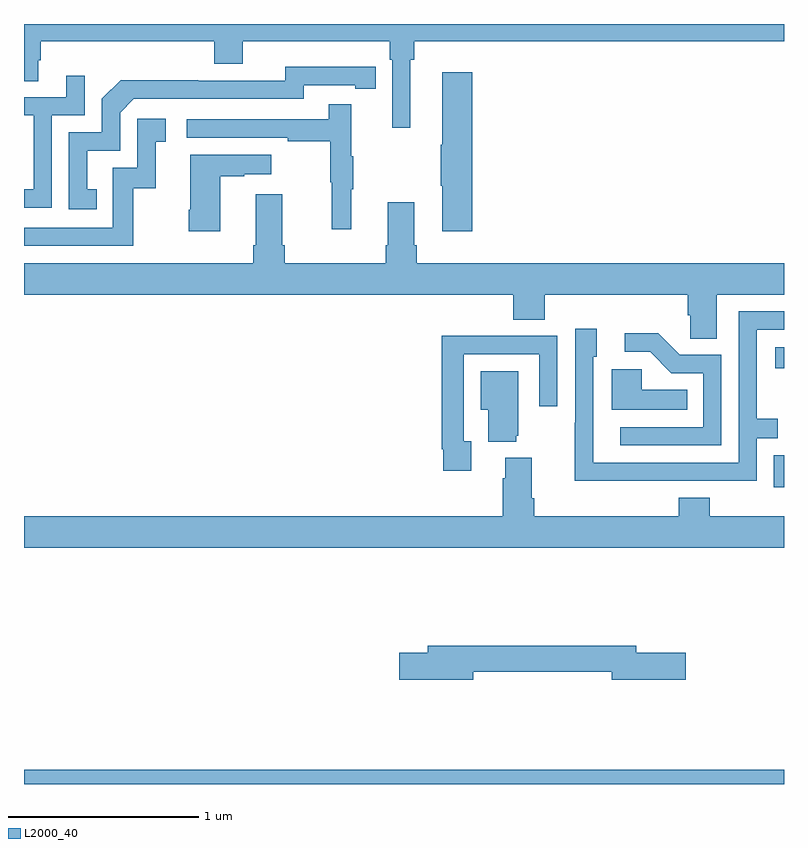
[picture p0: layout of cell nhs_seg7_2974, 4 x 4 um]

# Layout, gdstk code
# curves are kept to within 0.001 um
import gdstk
lib = gdstk.Library(unit=1e-6, precision=1e-09)
def R(c, l, rs):  # rectangles x0, y0, x1, y1
    for r in rs: c.add(gdstk.rectangle(r[:2], r[2:], *l))
def P(c, l, *ps):  # polygons
    for p in ps: c.add(gdstk.Polygon(p, *l))
L2000_40 = (2000, 40)

nhs_seg7_2974 = lib.new_cell('nhs_seg7_2974')
R(nhs_seg7_2974, L2000_40, [(301,1038,305,1038.076), (304.947,1039.563,305,1039.731), (304.953,1040.189,305,1040.299)])
P(nhs_seg7_2974, L2000_40, [(303.034,1041.812),(303.053,1041.812),(303.053,1041.908),(305,1041.908),(305,1042),(301,1042),(301,1041.7),(301.075,1041.7),(301.075,1041.81),(301.088,1041.81),(301.088,1041.908),(302,1041.908),(302,1041.791),(302.152,1041.791),(302.152,1041.908),(302.924,1041.908),(302.924,1041.812),(302.937,1041.812),(302.937,1041.453),(303.034,1041.453)],
  [(301.382,1041.129),(301.333,1041.129),(301.333,1041.333),(301.506,1041.333),(301.506,1041.534),(301.578,1041.606),(302.472,1041.606),(302.472,1041.678),(302.744,1041.678),(302.744,1041.658),(302.852,1041.658),(302.852,1041.774),(302.376,1041.775),(302.376,1041.702),(301.916,1041.702),(301.916,1041.704),(301.508,1041.704),(301.41,1041.606),(301.41,1041.429),(301.236,1041.429),(301.236,1041.024),(301.382,1041.024)],
  [(303.359,1041.745),(303.2,1041.745),(303.2,1041.365),(303.193,1041.365),(303.193,1041.148),(303.2,1041.148),(303.2,1040.91),(303.359,1040.91)],
  [(301.146,1041.519),(301.32,1041.519),(301.32,1041.727),(301.223,1041.727),(301.223,1041.615),(301,1041.615),(301,1041.519),(301.05,1041.519),(301.05,1041.13),(301,1041.13),(301,1041.033),(301.146,1041.033)],
  [(302.723,1041.131),(302.734,1041.131),(302.734,1041.305),(302.723,1041.305),(302.723,1041.577),(302.605,1041.577),(302.605,1041.498),(301.857,1041.498),(301.857,1041.402),(302.389,1041.402),(302.389,1041.382),(302.613,1041.382),(302.613,1041.168),(302.62,1041.168),(302.62,1040.919),(302.723,1040.919)],
  [(301.576,1041.135),(301.694,1041.135),(301.694,1041.381),(301.747,1041.381),(301.747,1041.502),(301.596,1041.502),(301.596,1041.243),(301.467,1041.243),(301.467,1040.928),(301,1040.928),(301,1040.832),(301.576,1040.832)],
  [(302.032,1041.199),(302.159,1041.199),(302.159,1041.209),(302.302,1041.209),(302.302,1041.313),(301.874,1041.313),(301.874,1041.022),(301.867,1041.022),(301.867,1040.91),(302.032,1040.91)],
  [(304.645,1040.576),(305,1040.576),(305,1040.74),(303.068,1040.74),(303.068,1040.836),(303.055,1040.836),(303.055,1041.061),(302.915,1041.061),(302.915,1040.836),(302.903,1040.836),(302.903,1040.74),(302.372,1040.74),(302.372,1040.836),(302.359,1040.836),(302.359,1041.103),(302.219,1041.103),(302.219,1040.836),(302.207,1040.836),(302.207,1040.74),(301,1040.74),(301,1040.576),(303.575,1040.576),(303.575,1040.443),(303.74,1040.443),(303.74,1040.576),(304.493,1040.576),(304.493,1040.467),(304.506,1040.467),(304.506,1040.344),(304.645,1040.344)],
  [(304.361,1039.596),(304.857,1039.596),(304.857,1039.821),(304.967,1039.821),(304.967,1039.922),(304.857,1039.922),(304.857,1040.391),(305,1040.391),(305,1040.487),(304.761,1040.487),(304.761,1039.692),(303.997,1039.692),(303.997,1039.946),(303.996,1039.946),(303.996,1040.25),(304.015,1040.25),(304.015,1040.395),(303.9,1040.395),(303.9,1039.901),(303.898,1039.901),(303.898,1039.595),(304.361,1039.595)],
  [(304.671,1040.259),(304.452,1040.259),(304.339,1040.372),(304.161,1040.372),(304.161,1040.274),(304.295,1040.274),(304.406,1040.163),(304.575,1040.163),(304.575,1039.878),(304.137,1039.878),(304.137,1039.782),(304.671,1039.782)],
  [(303.355,1039.805),(303.315,1039.805),(303.315,1040.262),(303.711,1040.262),(303.711,1039.989),(303.807,1039.989),(303.807,1040.358),(303.491,1040.358),(303.491,1040.36),(303.199,1040.36),(303.199,1039.762),(303.207,1039.762),(303.207,1039.65),(303.355,1039.65)],
  [(304.49,1040.074),(304.251,1040.074),(304.251,1040.182),(304.094,1040.182),(304.094,1039.97),(304.49,1039.97)],
  [(303.59,1039.833),(303.601,1039.833),(303.601,1040.173),(303.404,1040.173),(303.404,1039.97),(303.443,1039.97),(303.443,1039.802),(303.59,1039.802)],
  [(305,1039.408),(304.61,1039.408),(304.61,1039.507),(304.445,1039.507),(304.445,1039.408),(303.686,1039.408),(303.686,1039.504),(303.673,1039.504),(303.673,1039.717),(303.533,1039.717),(303.533,1039.61),(303.521,1039.61),(303.521,1039.408),(301,1039.408),(301,1039.244),(305,1039.244)],
  [(303.364,1038.592),(304.094,1038.592),(304.094,1038.55),(304.483,1038.55),(304.483,1038.692),(304.222,1038.692),(304.222,1038.728),(303.125,1038.728),(303.125,1038.692),(302.976,1038.692),(302.976,1038.55),(303.364,1038.55)])

lib.write_gds('nhs_seg7_2974.gds')
